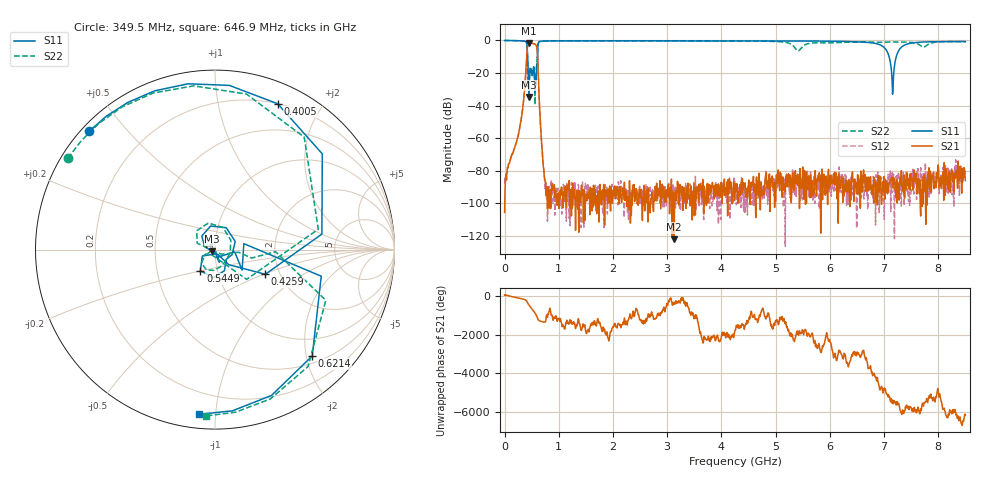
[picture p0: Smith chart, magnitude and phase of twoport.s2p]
!Created with skrf (http://scikit-rf.org).
# Hz S RI R 50.0
!freq ReS11 ImS11 ReS21 ImS21 ReS12 ImS12 ReS22 ImS22
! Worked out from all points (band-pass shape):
!   1001 points, 1 MHz to 8.5 GHz, reference 50 ohm
!   highest |S21| = -1.55 dB at 451.4 MHz (marker M1); lowest = -122.0 dB at 3.129 GHz (marker M2)
!   |S21| within 3 dB of the highest: 420.1 MHz to 597.6 MHz (177.5 MHz wide, 34.9 % of centre)
!   lowest |S11| = -34.6 dB at 451.4 MHz (marker M3), VSWR 1.04, Z = 48.4 - j0.931 ohm
!   |S11| at or under -10 dB: 425.8 MHz to 608.7 MHz (182.9 MHz wide, 35.4 % of centre); 7.093 GHz to 7.224 GHz (130.9 MHz wide, 1.83 % of centre)
!   |S22| runs from -39.4 to 0.0 dB; largest |S21 - S12| = 0.011
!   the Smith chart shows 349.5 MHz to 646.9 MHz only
!   S11 on the Smith chart (normalised r, x): 349.5 MHz: 0.02, +0.40; 400.5 MHz: 0.20, +1.50; 425.9 MHz: 1.68, -0.51; 544.9 MHz: 0.83, -0.20; 621.4 MHz: 0.63, -2.11; 646.9 MHz: 0.07, -0.91
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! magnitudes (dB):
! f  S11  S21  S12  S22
! 1 MHz  0.0  -105.6  -84.6  0.0
! 230.5 MHz  -0.1  -60.9  -60.9  -0.1
! 349.5 MHz  -0.3  -37.4  -37.4  -0.3
! 400.5 MHz  -1.1  -15.1  -15.3  -1.1
! 425.9 MHz  -10.1  -2.7  -2.6  -12.3
! 451.4 MHz  -34.6  -1.5  -1.6  -27.4
! 544.9 MHz  -16.9  -2.1  -2.0  -19.4
! 578.9 MHz  -27.1  -2.8  -2.8  -23.5
! 621.4 MHz  -1.9  -20.9  -21.0  -1.6
! 646.9 MHz  -0.7  -41.6  -41.9  -0.6
! 697.9 MHz  -0.4  -68.6  -69.9  -0.3
! 757.4 MHz  -0.3  -86.8  -87.3  -0.3
! 1.42 GHz  -0.2  -88.8  -90.1  -0.2
! 2.84 GHz  -0.2  -94.8  -92.9  -0.2
! 3.129 GHz  -0.2  -122.0  -104.9  -0.2
! 4.25 GHz  -0.3  -88.2  -86.2  -0.3
! 5.67 GHz  -0.4  -91.4  -89.5  -1.6
! 6.834 GHz  -1.8  -86.5  -85.3  -1.0
! 7.089 GHz  -9.5  -88.9  -82.9  -0.9
! 7.157 GHz  -33.0  -90.5  -87.4  -0.9
! 7.395 GHz  -2.6  -85.0  -81.6  -0.9
! 8.5 GHz  -0.7  -86.0  -80.0  -0.7
